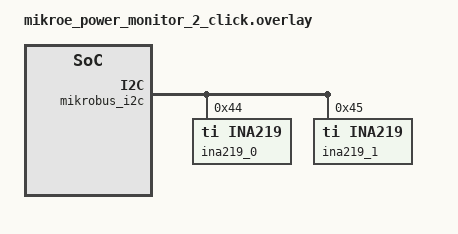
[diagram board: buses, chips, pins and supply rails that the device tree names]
/*
 * SPDX-FileCopyrightText: Copyright (c) 2026 Ian Morris
 * SPDX-License-Identifier: Apache-2.0
 */

/ {
	aliases {
		dpm0 = &ina219_0;
		dpm1 = &ina219_1;
	};
};

&mikrobus_i2c {
	status = "okay";

	ina219_0: ina219@44 {
		status = "okay";
		compatible = "ti,ina219";
		reg = <0x44>;
		shunt-milliohm = <10>;
		lsb-microamp = <10>;
	};

	ina219_1: ina219@45 {
		status = "okay";
		compatible = "ti,ina219";
		reg = <0x45>;
		shunt-milliohm = <10>;
		lsb-microamp = <10>;
	};
};
